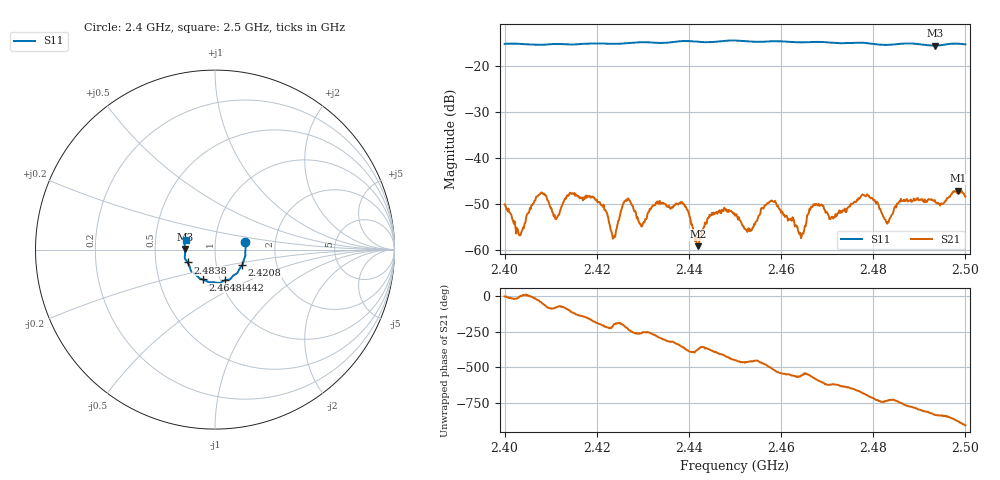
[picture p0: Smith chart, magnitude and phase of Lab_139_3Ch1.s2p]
# Hz S RI R 50
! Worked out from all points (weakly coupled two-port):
!   601 points, 2.4 GHz to 2.5 GHz, reference 50 ohm
!   highest |S21| = -47.07 dB at 2.4983 GHz (marker M1); lowest = -59.1 dB at 2.442 GHz (marker M2)
!   lowest |S11| = -15.6 dB at 2.4935 GHz (marker M3), VSWR 1.40, Z = 35.8 + j0.207 ohm
!   |S11| at or under -10 dB: start of sweep to end of sweep
!   S12 and S22 are empty: the file has one direction only
!   S11 on the Smith chart (normalised r, x): 2.4 GHz: 1.40, +0.12; 2.4208 GHz: 1.33, -0.24; 2.4442 GHz: 1.05, -0.37; 2.4648 GHz: 0.83, -0.28; 2.4838 GHz: 0.73, -0.11; 2.5 GHz: 0.72, +0.08
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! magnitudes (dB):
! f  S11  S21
! 2.4 GHz  -15.3  -50.1
! 2.4033 GHz  -15.2  -56.8
! 2.4077 GHz  -15.4  -47.8
! 2.4112 GHz  -15.3  -53.3
! 2.4167 GHz  -15.3  -48.7
! 2.4208 GHz  -15.2  -50.1
! 2.4237 GHz  -15.2  -57.3
! 2.4263 GHz  -15.1  -49.1
! 2.4297 GHz  -14.9  -54.8
! 2.4333 GHz  -15.0  -49.9
! 2.4388 GHz  -14.6  -50.1
! 2.442 GHz  -14.8  -59.1
! 2.4442 GHz  -14.9  -52.9
! 2.45 GHz  -14.5  -52.5
! 2.4583 GHz  -14.7  -49.5
! 2.4648 GHz  -14.9  -56.4
! 2.4667 GHz  -14.8  -50.5
! 2.4833 GHz  -15.5  -54.0
! 2.4838 GHz  -15.4  -52.7
! 2.4935 GHz  -15.6  -49.6
! 2.4983 GHz  -15.2  -47.1
! 2.5 GHz  -15.3  -48.4
